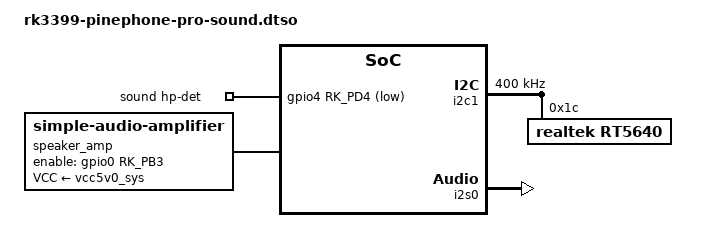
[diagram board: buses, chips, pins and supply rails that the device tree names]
// heavily based on megi's source tree.
// schematics for reference: <https://files.pine64.org/doc/PinePhonePro/PinephonePro-Schematic-V1.0-20211127.pdf>
// Realtek ALC5640 datasheet: <https://www.alldatasheet.com/datasheet-pdf/download/1132334/REALTEK/RT5640.html>
//
// ## DIGITAL RK3399 -> ALC5640 INTERFACE
// [RK3399]GPIO4_A0/I2S_CLK_d       ->  I2S_CLK       ->  MCLK[ALC5640]
// [RK3399]GPIO3_D0/I2S0_SCLK_d     ->  I2S0_SCLK     ->  BCLK1[ALC5640]
// [RK3399]GPIO3_D1/I2S0_LRCK_RX_d  ->  I2S0_LRCK_RX  ->  LRCLK1[ALC5640]
// [RK3399]GPIO3_D2/I2S0_LRCK_TX_d  ->  I2S0_LRCK_TX  ->  LRCLK1[ALC5640]
//   (yes, I2S0_LRCK_TX and I2S0_LRCK_RX are both bridged to LRCLK1, but with separate resistors probably so they don't short)
// [RK3399]GPIO3_D7/I2S0_SDO0_d     ->  I2S0_SDO0     ->  DACDAT1[ALC5640]
// [RK3399]GPIO3_D3/I2S0_SDI0_d     <-  I2S0_SDI0     <-  ADCDAT1[ALC5640]
//
// the ALC5640 connects also to bluetooth, and the chip as a whole has
// - I2C1_SCL
// - I2C1_SDA
// i believe I2C1 is for control data, whereas I2S is strictly for the audio stream.
//
// ## ALC5640 <-> PHY interface
// [ALC5640]HPO_L -> HPOUTL -> NO2[UM4717]     -> COM2[UM4717] -> HPO_L -> JA-3618-011 (jack, "EARPHONE")
//                      +----> INN[AW8737SCSR] -> SPK+/SPK-
//   so, the codec's HPO_L output is sent to the SW-6 MUX (user-exposed, controls whether jack is audio or serial)
//   AND it's sent to AW8737SCSR which *may* send it to the speaker.
//   i think audio is *unconditionally* routed to the headphones, then.
//     it's impossible to have headphones connected, and play *only* to the speaker.
//     and it's up to the system to disable AW8737SCSR when the headphones are detected.
// [ALC5640]HPO_R -> HPOUTR [... same as above]
//
// [ALC5640]SPO_LP -> EAROUTP -> 1[J7202/earphone]
// [ALC5640]SPO_LN -> EAROUTN -> 2[J7202/earphone]
//
// ## amplifiers
// [RK3399]B3 -> SPK_CTL_H -> SHDN[AW8737SCSR]
//
// ## Headphone detection (RK3399)
// [RK3399]GPIO4_D4_d               ->  HP_DET_H      -> HP_DET (circuit)
//   - HP_DET is pulled to 3V0 when jack is *unplugged*, pulled to HPO_L when jack is plugged.
//
// ## REGULATORS
// - AVDD18_REF    -> ALC5640
// - VCCA3V0_CODEC -> ALC5640
// - VCC_SPK       -> ALC5640
// - VDD_CODEC     -> ALC5640
// - AVDD18_CODEC  -> ALC5640
// - VCCA1V8_CODEC -> ALC5640
//
// mainline offers at least these regulators:
// - vcc_sys       (regulator-always-on)
// - vcc3v3_sys
// - vcca1v8_s3    (regulator-always-on)
// - vcc1v8_codec  (pinctrl-0 = <&vcc1v8_codec_en>)
//   - pinctrl routed to &{/pinctrl/sound}
//   - nothing in-kernel references vcc1v8_codec_en ...
//     megi changed this to regulator-always-on, regulator-boot-on, though
//
//
// note that the I2S pins described in the schematic above match ths `i2s0` defined in `rk3399-base.dtsi`,
// so in general the names should map 1:1
//
// the following in-kernel resources exist:
// - <sound/soc/codecs/rt5640.c>
//   driver which is (i think?) loaded by `compatible = "realtek,rt5640"`
// - <Documentation/devicetree/bindings/sound/simple-card.yaml>
//   for `compatible = "simple-audio-card"`
// - <arch/arm64/boot/dts/rockchip/rk3399-firefly.dts>
//   other RK3399 device with audio configured
// - <Documentation/devicetree/bindings/mfd/rockchip,rk818.yaml>
//   regulator definition
// - <Documentation/devicetree/bindings/sound/rockchip-i2s.yaml>
//   I2S audio definition

// for symbols like SCLK_I2S_8CH_OUT
#include <dt-bindings/clock/rk3399-cru.h>
// for RK_PD4, other pins
#include <dt-bindings/pinctrl/rockchip.h>
// for GPIO_ACTIVE_LOW
#include <dt-bindings/gpio/gpio.h>

/dts-v1/;
/plugin/;

/ {
        /* ensure this overlay applies only to the correct board */
        compatible = "pine64,pinephone-pro";
};

&{/} {
        // megi says:
        // > in1  - digital mic daughhterboard
        // > in2  - headset mic
        // > in3  - modem output  (muxed with mono)
        // > spol - earphone
        // > hpo  - heaphones
        // > lout - modem input
        // > spaker - amp enabled by SPK_CTL_H
        //
        // > mclk - GPIO4_A0/I2S_CLK

        sound {
                compatible = "simple-audio-card";
                simple-audio-card,name = "PinePhonePro";
                simple-audio-card,format = "i2s";
                // frequency scale between stream rate and codec mclk.
                // megi assigned 24 MHz to i2c1, which i think means the sample rate of the codec would then be 93.75 kHz (so 46.875 kHz per channel?).
                // mainline i2c1 frequence is 200 MHz.
                // the device tree makes this tunable, but ALC5640 docs are written as if it's *always* 256.
                // oh, perhaps i'm just *informing* the `simple-audio-card` of this fact,
                // and it doesn't configure anything on the rt5640, but rather uses this to calculate its own sample rate.
                simple-audio-card,mclk-fs = <256>;
                // see schematic GPIO4_D4_d -> link HP_DET
                // simple-audio-card,hp-det-gpio = <&gpio4 RK_PD4 GPIO_ACTIVE_LOW>;

                // <sink>, <source>
                // - these names i *think* come from <sound/soc/codecs/rt5640.c>,
                //   or i'm free to define new names for virtual nodes.
                //
                // HPOL/HPOR -> user kill switch SW1-6 -> headphone jack
                //   ALSO sent to the speaker amp
                // SPOLP/SPOLN -> earphone (with only passives in between)
                //
                // naming ("Internal Earpiece") is chosen to be consistent with OG pinephone
                // "Speaker Amp {INL,INR,OUTL,OUTR}" actually come from simple-audio-amplifier, i think.
                // - the speaker_amp dt node specifies "Speaker Amp" as its name-prefix,
                //   and <sound/soc/codecs/simple-amplifier.c> (i.e. simple-audio-amplifier) uses the INL/OUTL naming
                //
                // there may be some interplay between the widgets/routing defined here and the alsa configs though.
                simple-audio-card,routing =
                        // each entry is $source  $sink
                        "Headphones", "HPOL",
                        "Headphones", "HPOR",
                        // SPO_LP/SPO_LN -> EAROUTP -> EARPHONE (labeled in the "Mic" section of schematic)
                        "Internal Earpiece", "SPOLP",
                        "Internal Earpiece", "SPOLN",
                        "Internal Speaker", "Speaker Amp OUTL",
                        "Internal Speaker", "Speaker Amp OUTR",
                        // HPOL/HPOR are coupled to Amp:INN (i.e. mixed to mono)
                        "Speaker Amp INL", "HPOL",
                        "Speaker Amp INR", "HPOR",
                        "DMIC1", "Internal Microphone",
                        "Headset Microphone", "MICBIAS1",
                        "IN2P", "Headset Microphone",
                        "Line Out Modem", "LOUTL",
                        "Line Out Modem", "LOUTR",
                        "IN3P", "Line In Modem",
                        "IN3N", "Line In Modem";

                // user-facing controls. e.g. when user selects "Headphone", activate the "Headphone Jack" path.
                simple-audio-card,widgets =
                        "Microphone", "Headset Microphone",
                        "Microphone", "Internal Microphone",
                        "Headphone", "Headphones",
                        "Speaker", "Internal Earpiece",
                        "Speaker", "Internal Speaker",
                        "Line", "Line In Modem",
                        "Line", "Line Out Modem";

                simple-audio-card,hp-det-gpio = <&gpio4 RK_PD4 GPIO_ACTIVE_LOW>;
                pinctrl-0 = <&hp_det_pin>;

                simple-audio-card,pin-switches = "Internal Speaker";
                simple-audio-card,aux-devs = <&speaker_amp>;

                simple-audio-card,cpu {
                        sound-dai = <&i2s0>;
                };

                simple-audio-card,codec {
                        sound-dai = <&rt5640>;
                };
        };

        speaker_amp: audio-amplifier {
                // vcc5v0_sys is supplied by the modem;
                // speaker amplifier is therefore unpowered if modem is off
                VCC-supply = <&vcc5v0_sys>;
                compatible = "simple-audio-amplifier";
                pinctrl-names = "default";
                pinctrl-0 = <&spk_en>;
                enable-gpios = <&gpio0 RK_PB3 GPIO_ACTIVE_HIGH>;
                sound-name-prefix = "Speaker Amp";
        };
};

// declared in rk3399-pinephone-pro.dts
// TODO: spot check the routing on these... why are there two 1v8's in the device tree?
&vcc1v8_codec {
        // enable power to the regulator, always
        regulator-always-on;
        regulator-boot-on;
};
&vcca1v8_codec {
        // enable power to the regulator, always
        regulator-always-on;
        regulator-boot-on;
};
&vcca3v0_codec {
        // enable power to the regulator, always
        regulator-always-on;
        regulator-boot-on;
};

// declared in rk3399-base.dtsi, as `i2c1: i2c@ff110000 { ... }`
&i2c1 {
        status = "okay";
        // ALC5640 datasheet specifies max i2c rate of 400kHz
        // - max rise time: 300ns
        // - max fall time: 300ns
        clock-frequency = <400000>;
        // from rk3399-firefly.dts
        // note that i2c3 in pinephone-pro is defined as 450/15 rise/fall
        i2c-scl-rising-time-ns = <300>;
        i2c-scl-falling-time-ns = <15>;

        // /i2c1 declares these things, but they aren't seen from the context of this overlay it seems
        // this problem is actually mentioned here: <https://pine64.org/documentation/ROCKPro64/Software/Device_Tree_Overlays_on_Mainline/>
        #address-cells = <1>;
        #size-cells = <0>;

        rt5640: rt5640@1c {
                compatible = "realtek,rt5640";
                // reg = address of the device (a.k.a register?). Documentation/devicetree/bindings/sound/rt5640.txt uses 0x1c in their example; megi uses it too.
                reg = <0x1c>;
                // `cru` = Clocks and Reset unit. declared in rk3399-base.dtsi as `cru: clock-controller@ff760000 { ... }`
                // the names of the clocks this cru provides are hardcoded in <dt-bindings/clock/rk3399-cru.h>
                // i don't know what "8CH_OUT" means here, but this is the *only* `I2S_*` clock, so it must be right?
                clocks = <&cru SCLK_I2S_8CH_OUT>;
                clock-names = "mclk";
                // XXX: this differs from megi's kernel (which declares in3 as differential).
                // the schematics show `IN2P` / `IN2N` as being differential inputs though, with no mention of "in3"
                realtek,in2-differential;
                // realtek,in3-differential;
                // megi has lout-differential, but schematic shows LOUT{R,L} => 4G_IN_{R,L}  i.e. stereo.
                // sounds like the *modem* misconfigures its end to be differential, though
                // realtek,lout-differential;
                // codec has ldo1-en connected to 1.8V via pull-up, i.e. permanently enabled, no GPIO?
                // realtek,ldo1-en-gpios = VCCA1V8_CODEC;
                // PDM_SDI1_MIC -> IN1P/DMIC1_DAT
                realtek,dmic1-data-pin = <1>;
                // realtek,dmic2-data-pin = <0>;  //< presumed default
                // [RK3399]GPIO4_D4_d -> HP_DET_H -> HP_DET
                // i think jack detection is handled by the SoC, not by the codec chip.
                // it appears that HP_DET is pulled to 3V0 when jack is unplugged,
                // and pulled to HPO_L when the jack is plugged.
                // realtek,jack-detect-source = <>;

                // see: <https://www.kernel.org/doc/html/v6.11/sound/soc/dai.html>
                // DAI = Digital Audio Interface, in this case I2S, a 4-wire protocol with TX, RX, BCLK, LRCLK.
                // i think there's only one DAI on the board (the i2s DAI), and this is telling the driver the index of that DAI?
                #sound-dai-cells = <0>;

                // TODO: i think all of these can be removed? (they're specific to *megi's* rt5640 driver, and not mainline?)
                // assigned-clocks = <&cru SCLK_I2S0_8CH>;
                // assigned-clock-rates = <11289599>;  // 44100 * 256
                // // rt5645 describes avdd-supply, cpvdd-supply, but rt5640 does not.
                // // <Documentation/devicetree/bindings/sound/realtek,rt5645.yaml>
                // avdd-supply = <&vcca3v0_codec>;
                // cpvdd-supply = <&vcca3v0_codec>;
                // spkvdd-supply = <&vcc5v0_sys>;
                // dbvdd-supply = <&vcca1v8_codec>;
        };
};

// defined (as disabled) in rk3399-base.dtsi:
// - i2s0: i2s@ff880000
//     compatible = "rockchip,rk3399-i2s", "rockchip,rk3066-i2s"
&i2s0 {
        rockchip,playback-channels = <2>;
        // builtin mic on IN1, headphone mic on IN2
        rockchip,capture-channels = <2>;
        // i2s0_2ch_bus is [RK3399]PD0,PD1,PD2,PD3,PD7,PA0
        //   maps to I2S0_SCLK,I2S0_LRCK_RX,I2S0_LRCK_TX,I2S0_SDI0,I2S0_SDO0,I2S_CLK
        // 8ch_bus adds PD4,PD5,PD6
        //   maps to NC,NC,TP8
        pinctrl-0 = <&i2s0_2ch_bus>;
        status = "okay";
};

&pinctrl {
        sound {
                hp_det_pin: hp-det-pin {
                        // schematics specify a 100k pull-up to VCC_3V0
                        rockchip,pins = <4 RK_PD4 RK_FUNC_GPIO &pcfg_pull_none>;
                };
                spk_en: spk-en {
                        rockchip,pins = <0 RK_PB3 RK_FUNC_GPIO &pcfg_pull_none>;
                };
        };
        uart2c {
                uart2c_xfer: uart2c-xfer {
                        // headphone out interferes with debug UART2.
                        // it seems that the amp tries to output negative signals, through the UM4717 MUX.
                        // that MUX chooses between UART and audio, to route to the headphone jack.
                        // unfortunately it's not designed to handle below-ground signals.
                        // long-term fix is to mix a DC offset into the amp output.
                        // until then, pull RX to *ground* instead of supply, so that it's less affected by (apparent) shorting with the HPOL channel.
                        // or even just leave it without any pull resistor -- so far that seems to be pretty stable?
                        // note that this only fixes the spurious UART/spurious SYSRQ errors,
                        // it does not address the distortion likely caused by this.
                        rockchip,pins =
                                <4 RK_PC3 1 &pcfg_pull_none>,
                                <4 RK_PC4 1 &pcfg_pull_none>;
                };
        };
};

// TODO: what are `io_domains`?
